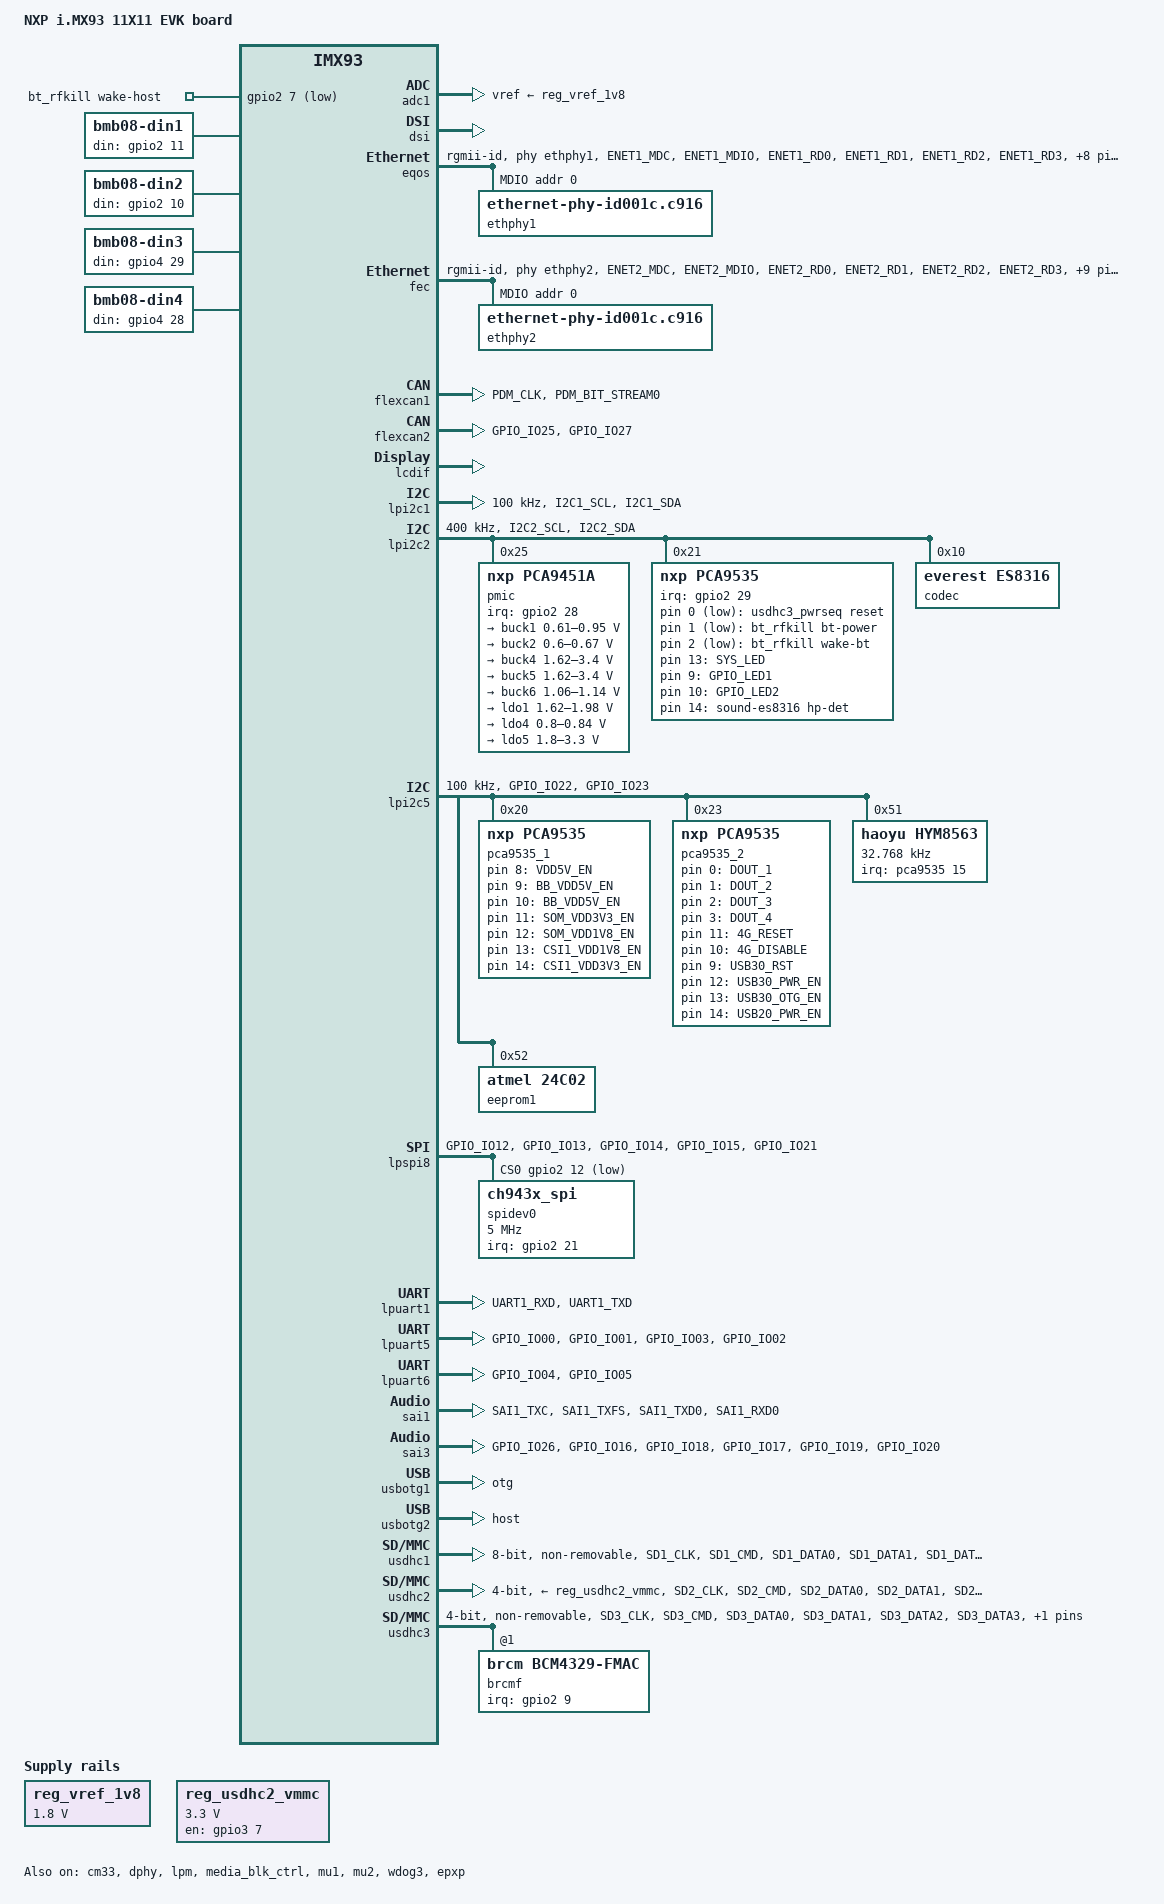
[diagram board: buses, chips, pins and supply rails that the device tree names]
// SPDX-License-Identifier: (GPL-2.0+ OR MIT)
/*
 * Copyright 2022 NXP
 */

/dts-v1/;

#include <dt-bindings/usb/pd.h>
#include "imx93.dtsi"

&ele_fw2 {
	memory-region = <&ele_reserved>;
};

/ {
	model = "NXP i.MX93 11X11 EVK board";
	compatible = "fsl,imx93-11x11-evk", "fsl,imx93";

	chosen {
		stdout-path = &lpuart1;
	};

	reserved-memory {
		#address-cells = <2>;
		#size-cells = <2>;
		ranges;

		linux,cma {
			compatible = "shared-dma-pool";
			reusable;
			alloc-ranges = <0 0x80000000 0 0x40000000>;
			size = <0 0x10000000>;
			linux,cma-default;
		};

		ethosu_mem: ethosu_region@C0000000 {
			compatible = "shared-dma-pool";
			reusable;
			reg = <0x0 0xC0000000 0x0 0x10000000>;
		};

		vdev0vring0: vdev0vring0@a4000000 {
			reg = <0 0xa4000000 0 0x8000>;
			no-map;
		};

		vdev0vring1: vdev0vring1@a4008000 {
			reg = <0 0xa4008000 0 0x8000>;
			no-map;
		};

		vdev1vring0: vdev1vring0@a4010000 {
			reg = <0 0xa4010000 0 0x8000>;
			no-map;
		};

		vdev1vring1: vdev1vring1@a4018000 {
			reg = <0 0xa4018000 0 0x8000>;
			no-map;
		};

		rsc_table: rsc-table@2021e000 {
			reg = <0 0x2021e000 0 0x1000>;
			no-map;
		};

		vdevbuffer: vdevbuffer@a4020000 {
			compatible = "shared-dma-pool";
			reg = <0 0xa4020000 0 0x100000>;
			no-map;
		};

		ele_reserved: ele-reserved@a4120000 {
			compatible = "shared-dma-pool";
			reg = <0 0xa4120000 0 0x100000>;
			no-map;
		};
	};

	ethosu {
		compatible = "arm,ethosu";
		fsl,cm33-proc = <&cm33>;
		memory-region = <&ethosu_mem>;
		power-domains = <&mlmix>;
	};
#if 0
	reg_can2_stby: regulator-can2-stby {
		compatible = "regulator-fixed";
		regulator-name = "can2-stby";
		regulator-min-microvolt = <3300000>;
		regulator-max-microvolt = <3300000>;
		gpio = <&adp5585 6 GPIO_ACTIVE_LOW>;
		enable-active-low;
	};

	reg_vdd_12v: regulator-vdd-12v {
		compatible = "regulator-fixed";
		regulator-name = "VDD_12V";
		regulator-min-microvolt = <12000000>;
		regulator-max-microvolt = <12000000>;
		gpio = <&pcal6524 14 GPIO_ACTIVE_HIGH>;
		enable-active-high;
	};
#endif
	reg_vref_1v8: regulator-adc-vref {
		compatible = "regulator-fixed";
		regulator-name = "vref_1v8";
		regulator-min-microvolt = <1800000>;
		regulator-max-microvolt = <1800000>;
	};

	reg_usdhc2_vmmc: regulator-usdhc2 {
		compatible = "regulator-fixed";
		pinctrl-names = "default";
		pinctrl-0 = <&pinctrl_reg_usdhc2_vmmc>;
		regulator-name = "VSD_3V3";
		regulator-min-microvolt = <3300000>;
		regulator-max-microvolt = <3300000>;
		gpio = <&gpio3 7 GPIO_ACTIVE_HIGH>;
		off-on-delay-us = <12000>;
		enable-active-high;
	};
#if 0
	backlight_lvds: backlight-lvds {
		compatible = "pwm-backlight";
		pwms = <&adp5585 0 100000 0>;
		brightness-levels = <0 100>;
		num-interpolated-steps = <100>;
		default-brightness-level = <100>;
		power-supply = <&reg_vdd_12v>;
		enable-gpios = <&adp5585 9 GPIO_ACTIVE_HIGH>;
		status = "disabled";
	};

	reg_m2_pwr: regulator-m2-pwr {
		compatible = "regulator-fixed";
		regulator-name = "M.2-power";
		regulator-min-microvolt = <3300000>;
		regulator-max-microvolt = <3300000>;
		gpio = <&pcal6524 13 GPIO_ACTIVE_HIGH>;
		enable-active-high;
	};

	reg_usdhc3_vmmc: regulator-usdhc3 {
		compatible = "regulator-fixed";
		regulator-name = "WLAN_EN";
		regulator-min-microvolt = <3300000>;
		regulator-max-microvolt = <3300000>;
		vin-supply = <&reg_m2_pwr>;
		gpio = <&pcal6524 20 GPIO_ACTIVE_HIGH>;
		/*
		 * IW612 wifi chip needs more delay than other wifi chips to complete
		 * the host interface initialization after power up, otherwise the
		 * internal state of IW612 may be unstable, resulting in the failure of
		 * the SDIO3.0 switch voltage.
		 */
		startup-delay-us = <20000>;
		enable-active-high;
	};
#endif
//Add wifi reg_on pin
	usdhc3_pwrseq: usdhc3_pwrseq {
		compatible = "mmc-pwrseq-simple";
		pinctrl-names = "default";
    	//	pinctrl-0 = <&pinctrl_wlan_reg_on>;
		//post-power-on-delay-ms = <500>;
		reset-gpios = <&pca9535 0 GPIO_ACTIVE_LOW>;
	};

//Add BT 
	bt_rfkill {
		compatible = "fsl,mxc_bt_rfkill";
		pinctrl-names = "default";
		pinctrl-0 = <&pinctrl_bt_ctrl>;
		bt-power-gpios = <&pca9535 1 GPIO_ACTIVE_LOW>;
		wake-bt-gpios =  <&pca9535 2 GPIO_ACTIVE_LOW>;
		wake-host-gpios = <&gpio2 7 GPIO_ACTIVE_LOW>;
		status ="okay";
	};
#if 0
	reg_audio_pwr: regulator-audio-pwr {
		compatible = "regulator-fixed";
		regulator-name = "audio-pwr";
		regulator-min-microvolt = <3300000>;
		regulator-max-microvolt = <3300000>;
		gpio = <&adp5585 1 GPIO_ACTIVE_HIGH>;
		enable-active-high;
		regulator-always-on;
	};

	reg_dvdd_1v2: regulator-dvdd {
		compatible = "regulator-fixed";
		regulator-name = "DVDD_1V2";
		gpio = <&adp5585_isp 7 GPIO_ACTIVE_HIGH>;
		regulator-min-microvolt = <1200000>;
		regulator-max-microvolt = <1200000>;
		enable-active-high;
	};


	reg_vddio_1v8: regulator-vddo {
		compatible = "regulator-fixed";
		regulator-name = "VDDIO_1V8";
		gpio = <&adp5585_isp 6 GPIO_ACTIVE_HIGH>;
		regulator-min-microvolt = <1800000>;
		regulator-max-microvolt = <1800000>;
		enable-active-high;
	};

	reg_avdd_2v8: regulator-avdd {
		compatible = "regulator-fixed";
		regulator-name = "AVDD_2V8";
		gpio = <&adp5585_isp 8 GPIO_ACTIVE_HIGH>;
		regulator-min-microvolt = <2800000>;
		regulator-max-microvolt = <2800000>;
		enable-active-high;
	};
#endif
#if 0
	reg_hmisc_vddio: regulator-hmisc-vddio {
		compatible = "regulator-fixed";
		regulator-name = "HMISC_VDDIO_1V8";
		gpio = <&adp5585_isp 10 GPIO_ACTIVE_HIGH>;
		regulator-min-microvolt = <1800000>;
		regulator-max-microvolt = <1800000>;
		enable-active-high;
	};
#endif
#if 0
	sound-micfil {
		compatible = "fsl,imx-audio-card";
		model = "micfil-audio";

		pri-dai-link {
			link-name = "micfil hifi";
			format = "i2s";

			cpu {
				sound-dai = <&micfil>;
			};
		};
	};

	sound-xcvr {
		compatible = "fsl,imx-audio-card";
		model = "imx-audio-xcvr";

		pri-dai-link {
			link-name = "XCVR PCM";

			cpu {
				sound-dai = <&xcvr>;
			};
		};
	};
#endif

//add DIN
	bmb08-din1 {
		compatible = "bmb08-din1";
		din-gpios = <&gpio2 11 GPIO_ACTIVE_HIGH>;
		pinctrl-names = "default";
		pinctrl-0 = <&pinctrl_din1>;
	};
	bmb08-din2 {
		compatible = "bmb08-din2";
		pinctrl-names = "default";
		pinctrl-0 = <&pinctrl_din2>;
		din-gpios = <&gpio2 10 GPIO_ACTIVE_HIGH>;
	};
	bmb08-din3 {
		compatible = "bmb08-din3";
		pinctrl-names = "default";
		pinctrl-0 = <&pinctrl_din3>;
		din-gpios = <&gpio4 29 GPIO_ACTIVE_HIGH>;
	};
	bmb08-din4 {
		compatible = "bmb08-din4";
		pinctrl-names = "default";
		pinctrl-0 = <&pinctrl_din4>;
		din-gpios = <&gpio4 28 GPIO_ACTIVE_HIGH>;
	};



//add led gpio
gpio-leds {
		compatible = "gpio-leds";

		#if 0
		pinctrl-names = "default";
		pinctrl-0 = <&pinctrl_gpio_led &pinctrl_bluetooth>;

		usb_rst {
				label = "USB_RST";
				gpios = <&gpio2 10 GPIO_ACTIVE_HIGH>;
				default-state = "on";
		};
		#endif
		sys_led {
                        label = "SYS_LED";
                        gpios = <&pca9535 13 GPIO_ACTIVE_HIGH>;
                        default-state = "on";
                };
		#if 0
		bt_power {
                        label = "bt_power";
                        gpios = <&gpio2 7 GPIO_ACTIVE_HIGH>;
                        default-state = "on";
                };

		bt_wake_host {
                        label = "bt_wake_host";
                        gpios = <&gpio2 8 GPIO_ACTIVE_HIGH>;
                        default-state = "on";
                };
		bt_wake_dev {
                        label = "bt_wake_dev";
                        gpios = <&gpio2 6 GPIO_ACTIVE_HIGH>;
                        default-state = "on";
                };
		#endif

		GPIO_LED1 {
			label = "GPIO_LED1";
			gpios = <&pca9535 9 GPIO_ACTIVE_HIGH>;
			default-state = "on";
		};
		GPIO_LED2 {
			label = "GPIO_LED2";
			gpios = <&pca9535 10 GPIO_ACTIVE_HIGH>;
			default-state = "on";
		};


		VDD5V_EN {
			label = "VDD5V_EN";
			gpios = <&pca9535_1 8 GPIO_ACTIVE_HIGH>;
			default-state = "on";
			retain-state-suspended;
		};

		BB_VDD5V_EN {
			label = "BB_VDD5V_EN";
			gpios = <&pca9535_1 9 GPIO_ACTIVE_HIGH>;
			default-state = "on";
			retain-state-suspended;
		};

		BB_VDD3V3_EN {
			label = "BB_VDD5V_EN";
			gpios = <&pca9535_1 10 GPIO_ACTIVE_HIGH>;
			default-state = "on";
			retain-state-suspended;
		};
		SOM_VDD3V3_EN {
			label = "SOM_VDD3V3_EN";
			gpios = <&pca9535_1 11 GPIO_ACTIVE_HIGH>;
			default-state = "on";
			retain-state-suspended;
		};

		SOM_VDD1V8_EN {
			label = "SOM_VDD1V8_EN";
			gpios = <&pca9535_1 12 GPIO_ACTIVE_HIGH>;
			default-state = "on";
			retain-state-suspended;
		};

		CSI1_VDD1V8_EN {
			label = "CSI1_VDD1V8_EN";
			gpios = <&pca9535_1 13 GPIO_ACTIVE_HIGH>;
			default-state = "on";
			retain-state-suspended;
		};
		CSI1_VDD3V3_EN {
			label = "CSI1_VDD3V3_EN";
			gpios = <&pca9535_1 14 GPIO_ACTIVE_HIGH>;
			default-state = "on";
			retain-state-suspended;
		};


		DOUT_1 {
			label = "DOUT_1";
			gpios = <&pca9535_2 0 GPIO_ACTIVE_HIGH>;
			default-state = "on";
			retain-state-suspended;
		};
		DOUT_2 {
			label = "DOUT_2";
			gpios = <&pca9535_2 1 GPIO_ACTIVE_HIGH>;
			default-state = "on";
			retain-state-suspended;
		};
		DOUT_3 {
			label = "DOUT_3";
			gpios = <&pca9535_2 2 GPIO_ACTIVE_HIGH>;
			default-state = "on";
			retain-state-suspended;
		};
		DOUT_4 {
			label = "DOUT_4";
			gpios = <&pca9535_2 3 GPIO_ACTIVE_HIGH>;
			default-state = "on";
			retain-state-suspended;
		};
		4G_RESET {
			label = "4G_RESET";
			gpios = <&pca9535_2 11 GPIO_ACTIVE_HIGH>;
			default-state = "off";
			retain-state-suspended;
		};
		4G_DISABLE {
			label = "4G_DISABLE";
			gpios = <&pca9535_2 10 GPIO_ACTIVE_HIGH>;
			default-state = "off";
			retain-state-suspended;
		};

		USB30_RST {
			label = "USB30_RST";
			gpios = <&pca9535_2 9 GPIO_ACTIVE_HIGH>;
			default-state = "on";
			retain-state-suspended;
		};
		USB30_PWR_EN {
			label = "USB30_PWR_EN";
			gpios = <&pca9535_2 12 GPIO_ACTIVE_HIGH>;
			default-state = "on";
			retain-state-suspended;
		};
		USB30_OTG_EN {
			label = "USB30_OTG_EN";
			gpios = <&pca9535_2 13 GPIO_ACTIVE_HIGH>;
			default-state = "on";
			retain-state-suspended;
		};
		USB20_PWR_EN {
			label = "USB20_PWR_EN";
			gpios = <&pca9535_2 14 GPIO_ACTIVE_HIGH>;
			default-state = "on";
			retain-state-suspended;
		};

};


//Add  es8316 sound
	sound-es8316 {
		compatible = "fsl,imx-audio-es8316";
		model = "es8316-audio";
		audio-cpu = <&sai3>;
		audio-codec = <&codec>;
		//audio-asrc = <&easrc>;
		format = "i2s";
		hp-det-gpios = <&pca9535 14 GPIO_ACTIVE_HIGH>;
		spk-vdd5v-en = <&pca9535_1 0 GPIO_ACTIVE_HIGH>;
		hp-spk-sel = <&pca9535_1 1 GPIO_ACTIVE_HIGH>;
		spk-mute = <&pca9535_1 2 GPIO_ACTIVE_HIGH>;
	//	mic-det-gpio = <&gpio4 29 GPIO_ACTIVE_HIGH>;
		//jack-gpio = <&gpio4 29 GPIO_ACTIVE_HIGH>;
		//audio-widgets = 
			//"Microphone", "Mic Jack",
			//"Headphone", "Headphone Jack";

		audio-routing =
			"Mic Jack", "MIC2",
			//"MIC2", "Mic Jack",
			//"MIC2", "DMIC",
			"Headphone Jack", "HPOL",
			"Headphone Jack", "HPOR";
	};


};

&adc1 {
	vref-supply = <&reg_vref_1v8>;
	status = "okay";
};

&cm33 {
	mbox-names = "tx", "rx", "rxdb";
	mboxes = <&mu1 0 1>,
		 <&mu1 1 1>,
		 <&mu1 3 1>;
	memory-region = <&vdevbuffer>, <&vdev0vring0>, <&vdev0vring1>,
			<&vdev1vring0>, <&vdev1vring1>, <&rsc_table>;
	fsl,startup-delay-ms = <500>;
	status = "okay";
};

&dphy {
	status = "okay";
};

&dsi {
	status = "okay";
#if 0
	ports {
		port@1 {
			reg = <1>;

			dsi_to_adv7535: endpoint {
				remote-endpoint = <&adv7535_to_dsi>;
			};
		};
	};
#endif
};

&eqos {
	pinctrl-names = "default";
	pinctrl-0 = <&pinctrl_eqos>;
	phy-mode = "rgmii-id";
	phy-handle = <&ethphy1>;
	// snps,reset-gpios = <&pca9535 12 GPIO_ACTIVE_LOW>;
	// snps,reset-delays-us = <10 20 200000>;
	//pinctrl-assert-gpios = <&pca9535 12 GPIO_ACTIVE_LOW>;
	status = "okay";

	mdio {
		compatible = "snps,dwmac-mdio";
		#address-cells = <1>;
		#size-cells = <0>;
		clock-frequency = <2500000>;
		reset-delay-us = <10>;
		reset-post-delay-us = <150>;
		reset-gpios = <&pca9535 12 GPIO_ACTIVE_LOW>;
		ethphy1: ethernet-phy@0 {
			compatible = "ethernet-phy-id001c.c916","ethernet-phy-ieee802.3-c22";//need to use RTL8211E Gigabit Ethernet driver
			//compatible = "ethernet-phy-ieee802.3-c22";
			reg = <0>;
			 //phy-id = <0>;
			//  0x001cc916
			eee-broken-1000t;
		};
	};
};



&fec {
	pinctrl-names = "default";
	pinctrl-0 = <&pinctrl_fec>;
	phy-mode = "rgmii-id";
	phy-handle = <&ethphy2>;
	fsl,magic-packet;
	phy-reset-gpios = <&pca9535 11 GPIO_ACTIVE_LOW>;
        phy-reset-duration = <10>;
        phy-reset-post-delay = <150>;
	status = "okay";

	mdio {
		#address-cells = <1>;
		#size-cells = <0>;
		clock-frequency = <5000000>;

		ethphy2: ethernet-phy@0 {
			compatible =  "ethernet-phy-id001c.c916","ethernet-phy-ieee802.3-c22";//need to use RTL8211E Gigabit Ethernet driver
			reg = <0>;
			eee-broken-1000t;
		};
	};
};
&flexcan1 {
	pinctrl-names = "default";
	pinctrl-0 = <&pinctrl_flexcan1>;
//	xceiver-supply = <&reg_can1_stby>;
	status = "okay";
};

&flexcan2 {
	pinctrl-names = "default";
	pinctrl-0 = <&pinctrl_flexcan2>;
	//xceiver-supply = <&reg_can2_stby>;
	status = "okay";
};


&lcdif {
	status = "okay";
	assigned-clock-rates = <445333333>, <148444444>, <400000000>, <133333333>;
};

&lpm {
	soc-supply = <&buck1>;
	status = "okay";
};

/*
 * When add, delete or change any target device setting in &lpi2c1,
 * please synchronize the changes to the &i3c1 bus in imx93-11x11-evk-i3c.dts.
 */
&lpi2c1 {
		#address-cells = <1>;
	#size-cells = <0>;
	clock-frequency = <100000>;
	pinctrl-names = "default";
	pinctrl-0 = <&pinctrl_lpi2c1>;
	status = "okay";
#if 0
	adv7535: hdmi@3d {
		compatible = "adi,adv7535";
		reg = <0x3d>;
		adi,addr-cec = <0x3b>;
		adi,dsi-lanes = <4>;
		status = "okay";

		port {
			adv7535_to_dsi: endpoint {
				//remote-endpoint = <&dsi_to_adv7535>;
			};
		};
	};

	inertial-meter@6a {
		compatible = "st,lsm6dso";
		reg = <0x6a>;
	};
#endif
};

&lpi2c2 {
	clock-frequency = <400000>;
	pinctrl-names = "default", "sleep";
	pinctrl-0 = <&pinctrl_lpi2c2>;
	pinctrl-1 = <&pinctrl_lpi2c2>;
	status = "okay";
#if 0
	pcal6524: gpio@22 {
		compatible = "nxp,pcal6524";
		reg = <0x22>;
		pinctrl-names = "default";
		pinctrl-0 = <&pinctrl_pcal6524>;
		gpio-controller;
		#gpio-cells = <2>;
		interrupt-controller;
		#interrupt-cells = <2>;
		interrupt-parent = <&gpio3>;
		interrupts = <27 IRQ_TYPE_LEVEL_LOW>;

		m2-pcm-level-shifter-hog {
			gpio-hog;
			gpios = <19 GPIO_ACTIVE_HIGH>;
			output-high;
		};
	};
#endif

	pmic@25 {
		compatible = "nxp,pca9451a";
		reg = <0x25>;
		pinctrl-0 = <&pinctrl_pmic>;
		interrupt-parent = <&gpio2>;
		interrupts = <28 IRQ_TYPE_EDGE_FALLING>;

		regulators {
			buck1: BUCK1 {
				regulator-name = "BUCK1";
				regulator-min-microvolt = <610000>;
				regulator-max-microvolt = <950000>;
				regulator-boot-on;
				regulator-always-on;
				regulator-ramp-delay = <3125>;
			};

			buck2: BUCK2 {
				regulator-name = "BUCK2";
				regulator-min-microvolt = <600000>;
				regulator-max-microvolt = <670000>;
				regulator-boot-on;
				regulator-always-on;
				regulator-ramp-delay = <3125>;
			};

			buck4: BUCK4{
				regulator-name = "BUCK4";
				regulator-min-microvolt = <1620000>;
				regulator-max-microvolt = <3400000>;
				regulator-boot-on;
				regulator-always-on;
			};

			buck5: BUCK5{
				regulator-name = "BUCK5";
				regulator-min-microvolt = <1620000>;
				regulator-max-microvolt = <3400000>;
				regulator-boot-on;
				regulator-always-on;
			};

			buck6: BUCK6 {
				regulator-name = "BUCK6";
				regulator-min-microvolt = <1060000>;
				regulator-max-microvolt = <1140000>;
				regulator-boot-on;
				regulator-always-on;
			};

			ldo1: LDO1 {
				regulator-name = "LDO1";
				regulator-min-microvolt = <1620000>;
				regulator-max-microvolt = <1980000>;
				regulator-boot-on;
				regulator-always-on;
			};

			ldo4: LDO4 {
				regulator-name = "LDO4";
				regulator-min-microvolt = <800000>;
				regulator-max-microvolt = <840000>;
				regulator-boot-on;
				regulator-always-on;
			};

			ldo5: LDO5 {
				regulator-name = "LDO5";
				regulator-min-microvolt = <1800000>;
				regulator-max-microvolt = <3300000>;
				regulator-boot-on;
				regulator-always-on;
			};
		};
	};
#if 0
	adp5585: io-expander@34 {
		compatible = "adi,adp5585-00", "adi,adp5585";
		reg = <0x34>;
		vdd-supply = <&buck4>;
		gpio-controller;
		#gpio-cells = <2>;
		gpio-reserved-ranges = <5 1>;
		#pwm-cells = <3>;
	};
#endif
	pca9535: gpio-expander@21{
	compatible = "nxp,pca9535";
	pinctrl-names = "default";
	pinctrl-0 = <&pinctrl_pca9535>;
	reg = <0x21>;
	gpio-controller;
	#gpio-cells = <2>;
	interrupt-controller;
	#interrupt-cells = <2>;
	interrupt-parent = <&gpio2>;
	interrupts = <29 IRQ_TYPE_LEVEL_LOW>;
};	

//Add codec es8316
	codec: es8316@10 {
		compatible = "everest,es8316";
		reg = <0x10>;
		clocks = <&clk IMX93_CLK_SAI3_GATE>;
		clock-names = "mclk";
	};


};

&lpi2c3 {
	clock-frequency = <400000>;
	pinctrl-names = "default";
	//pinctrl-0 = <&pinctrl_lpi2c3>;
	status = "diabled";
#if 0
	adp5585_isp: io-expander-isp@34 {
		compatible = "adi,adp5585-01", "adi,adp5585";
		reg = <0x34>;
		gpio-controller;
		#gpio-cells = <2>;
		#pwm-cells = <3>;
	};


	ap1302: ap1302_mipi@3c {
		compatible = "onnn,ap1302";
		reg = <0x3c>;
		clocks = <&clk IMX93_CLK_24M>;
		reset-gpios   = <&adp5585 0 GPIO_ACTIVE_LOW>;
		isp_en-gpios  = <&adp5585_isp 2 GPIO_ACTIVE_HIGH>;
		orientation = <2>;
		rotation = <0>;
		DVDD-supply   = <&reg_dvdd_1v2>;
		VDDIO_HMISC-supply  = <&reg_hmisc_vddio>;
		VDDIO_SMISC-supply   = <&reg_hmisc_vddio>;
		status = "okay";

		ports {
			#address-cells = <1>;
			#size-cells = <0>;

			port@0 {
				reg = <0>;
			};

			port@1 {
				reg = <1>;
			};

			port@2 {
				reg = <2>;

				isp_out: endpoint {
					remote-endpoint = <&mipi_csi_in>;
					data-lanes = <1 2>;
				};
			};
		};

		sensors {
			#address-cells = <1>;
			#size-cells = <0>;

			onnn,model = "onnn,ar0144";

			sensor@0 {
				reg = <0>;

				vdd-supply = <&reg_dvdd_1v2>;
				vddio-supply = <&reg_vddio_1v8>;
				vaa-supply = <&reg_avdd_2v8>;
			};
		};
	};
#endif

#if 0
	pcf2131: rtc@53 {
		compatible = "nxp,pcf2131";
		reg = <0x53>;
		interrupt-parent = <&pcal6524>;
		interrupts = <1 IRQ_TYPE_EDGE_FALLING>;
	};
#endif
};

&lpi2c5 {
	#address-cells = <1>;
	#size-cells = <0>;
	clock-frequency = <100000>;
	pinctrl-names = "default", "sleep";
	pinctrl-0 = <&pinctrl_lpi2c5>;
	pinctrl-1 = <&pinctrl_lpi2c5>;
	status = "okay";

#if 0 //not use
	pcf2131: rtc@53 {
			compatible = "nxp,pcf2131";
			reg = <0x53>;
			interrupt-parent = <&pcal6524>;
			interrupts = <1 IRQ_TYPE_EDGE_FALLING>;
			status = "okay";
	};
#endif

// 	hym8563: hym8563@51 {
// 		compatible = "haoyu,hym8563";
// 		reg = <0x51>;
// 		#clock-cells = <0>;
// 		clock-frequency = <32768>;
// 		clock-output-names = "xin32k";
// 		init_date="2025/03/27";
// 		interrupt-parent = <&pca9535>;
// 		interrupts = <15 IRQ_TYPE_EDGE_FALLING>;
// 		status = "okay";	
// //		pinctrl-names = "default";
// //		pinctrl-0 = <&pinctrl_rtc_int>;
// 	};

	pca9535_1: pca9535_1@20 {
	   compatible = "nxp,pca9535";
	   reg = <0x20>;
	   gpio-controller;
	   #gpio-cells = <0x02>;
	};
	pca9535_2: pca9535_2@23 {
	   compatible = "nxp,pca9535";
	   reg = <0x23>;
	   gpio-controller;
	   #gpio-cells = <0x02>;
	};


	hym8563: hym8563@51 {
		compatible = "haoyu,hym8563";
		reg = <0x51>;
		#clock-cells = <0>;
		clock-frequency = <32768>;
		clock-output-names = "xin32k";
		init_date="2025/03/27";
		interrupt-parent = <&pca9535>;
		interrupts = <15 IRQ_TYPE_EDGE_FALLING>;
		status = "okay";	
//		pinctrl-names = "default";
//		pinctrl-0 = <&pinctrl_rtc_int>;
	};
	eeprom1: eeprom@52 {
		compatible = "atmel,24c02";
		reg = <0x52>;
		pagesize = <16>;
	};

};

//Add SPI to 4xUART
&lpspi8{
        #address-cells = <1>;
        #size-cells = <0>;
        fsl,spi-num-chipselects = <1>;
        pinctrl-names = "default"; //, "sleep";
        pinctrl-0 = <&pinctrl_lpspi8>;
        //pinctrl-0 = <&pinctrl_lpspi8>;
        cs-gpios = <&gpio2 12 GPIO_ACTIVE_LOW>;
//      pinctrl-assert-gpios = <&adp5585gpio 4 GPIO_ACTIVE_HIGH>;
        status = "okay";
        spidev0: spi@0 {
                        #address-cells = <1>;
                        #size-cells = <1>;
                        compatible = "ch943x_spi";
                        //reg = <1 0>;
                        reg = <0>;
                        spi-max-frequency = <5000000>;
                        //spi-max-frequency = <1000000>;
                        interrupt-parent = <&gpio2>;
                        interrupts = <21 2>;
                                status = "okay";
        };
};

&lpuart1 { /* console */
	pinctrl-names = "default";
	pinctrl-0 = <&pinctrl_uart1>;
	status = "okay";
};

//Add J36
// &lpuart2 {
// 	pinctrl-names = "default";
// 	pinctrl-0 = <&pinctrl_uart2>;
// 	status = "okay";
// };

//BT
&lpuart5 {
	/* BT */
	pinctrl-names = "default";
	//pinctrl-assert-gpios = <&pcal6524 19 GPIO_ACTIVE_HIGH>;
	assigned-clocks = <&clk IMX93_CLK_LPUART5>;
	//assigned-clock-parents = <&clk IMX93_SYS_PLL1_80M>;
	pinctrl-0 = <&pinctrl_uart5>;
	fsl,uart-has-rtscts;
	status = "okay";

	// bluetooth {
	// 	compatible = "nxp,88w8987-bt";
	// };
};

//Add J35
//J35
&lpuart6 {
	pinctrl-names = "default";
	pinctrl-0 = <&pinctrl_uart6>;
	/delete-property/dmas;
	/delete-property/dma-names;
	status = "okay";

};

&media_blk_ctrl {
	status = "okay";
};

&micfil {
	pinctrl-names = "default", "sleep";
	pinctrl-0 = <&pinctrl_pdm>;
	pinctrl-1 = <&pinctrl_pdm_sleep>;
	assigned-clocks = <&clk IMX93_CLK_PDM>;
	assigned-clock-parents = <&clk IMX93_CLK_AUDIO_PLL>;
	assigned-clock-rates = <49152000>;
	status = "disabled";
};

&mu1 {
	status = "okay";
};

&mu2 {
	status = "okay";
};

&sai1 {
	pinctrl-names = "default", "sleep";
	pinctrl-0 = <&pinctrl_sai1>;
	pinctrl-1 = <&pinctrl_sai1_sleep>;
	assigned-clocks = <&clk IMX93_CLK_SAI1>;
	assigned-clock-parents = <&clk IMX93_CLK_AUDIO_PLL>;
	assigned-clock-rates = <12288000>;
	fsl,sai-mclk-direction-output;
	status = "okay";
};

&sai3 {
	pinctrl-names = "default";
	pinctrl-0 = <&pinctrl_sai3>;
	assigned-clocks = <&clk IMX93_CLK_SAI3>;
	assigned-clock-parents = <&clk IMX93_CLK_AUDIO_PLL>;
	assigned-clock-rates = <12288000>;
	fsl,sai-mclk-direction-output;
	status = "okay";
};

&usbotg1 {
#if 0
	dr_mode = "host";
#else
	dr_mode = "otg";
	hnp-disable;
	srp-disable;
	adp-disable;
	//usb-role-switch;
	disable-over-current;
	samsung,picophy-pre-emp-curr-control = <3>;
	samsung,picophy-dc-vol-level-adjust = <7>;

#endif
	status = "okay";
/*
	port {
		usb1_drd_sw: endpoint {
			remote-endpoint = <&typec1_dr_sw>;
		};
	};
*/
};

&usbotg2 {
#if 1 
	dr_mode = "host";
#else
	dr_mode = "otg";
	hnp-disable;
	srp-disable;
	adp-disable;
	usb-role-switch;
	disable-over-current;
	samsung,picophy-pre-emp-curr-control = <3>;
	samsung,picophy-dc-vol-level-adjust = <7>;
#endif
	status = "okay";
/*
	port {
		usb2_drd_sw: endpoint {
			remote-endpoint = <&typec2_dr_sw>;
		};
	};
*/
};

&usdhc1 {
	pinctrl-names = "default", "state_100mhz", "state_200mhz";
	pinctrl-0 = <&pinctrl_usdhc1>;
	pinctrl-1 = <&pinctrl_usdhc1_100mhz>;
	pinctrl-2 = <&pinctrl_usdhc1_200mhz>;
	bus-width = <8>;
	fsl,tuning-step = <1>;
	non-removable;
	status = "okay";
};

&usdhc2 {
	pinctrl-names = "default", "state_100mhz", "state_200mhz", "sleep";
	pinctrl-0 = <&pinctrl_usdhc2>, <&pinctrl_usdhc2_gpio>;
	pinctrl-1 = <&pinctrl_usdhc2_100mhz>, <&pinctrl_usdhc2_gpio>;
	pinctrl-2 = <&pinctrl_usdhc2_200mhz>, <&pinctrl_usdhc2_gpio>;
	pinctrl-3 = <&pinctrl_usdhc2_sleep>, <&pinctrl_usdhc2_gpio_sleep>;
	cd-gpios = <&gpio3 00 GPIO_ACTIVE_LOW>;
	fsl,cd-gpio-wakeup-disable;
	vmmc-supply = <&reg_usdhc2_vmmc>;
	bus-width = <4>;
	fsl,tuning-step = <1>;
	status = "okay";
	no-mmc;
};

// &usdhc3 {
// 	pinctrl-names = "default", "state_100mhz", "state_200mhz", "sleep";
// 	pinctrl-0 = <&pinctrl_usdhc3>, <&pinctrl_usdhc3_wlan>;
// 	pinctrl-1 = <&pinctrl_usdhc3_100mhz>, <&pinctrl_usdhc3_wlan>;
// 	pinctrl-2 = <&pinctrl_usdhc3_200mhz>, <&pinctrl_usdhc3_wlan>;
// 	pinctrl-3 = <&pinctrl_usdhc3_sleep>, <&pinctrl_usdhc3_wlan>;
// 	mmc-pwrseq = <&usdhc3_pwrseq>;
// 	vmmc-supply = <&reg_usdhc3_vmmc>;
// 	bus-width = <4>;
// 	keep-power-in-suspend;
// 	non-removable;
// 	wakeup-source;
// 	status = "okay";

// 	wifi_wake_host {
// 		compatible = "nxp,wifi-wake-host";
// 		interrupt-parent = <&gpio3>;
// 		interrupts = <26 IRQ_TYPE_LEVEL_LOW>;
// 		interrupt-names = "host-wake";
// 	};
// };

#if 1 //WIFI
&usdhc3 {
	pinctrl-names = "default", "state_100mhz", "state_200mhz";
	pinctrl-0 = <&pinctrl_usdhc3>, <&pinctrl_usdhc3_wlan>;
	pinctrl-1 = <&pinctrl_usdhc3_100mhz>, <&pinctrl_usdhc3_wlan>;//need to use 100mhz or 200mhz,when meet error -110 whilst initialising SDIO card
	pinctrl-2 = <&pinctrl_usdhc3_200mhz>, <&pinctrl_usdhc3_wlan>;
	mmc-pwrseq = <&usdhc3_pwrseq>;
	//pinctrl-assert-gpios = <&pcal6524 13 GPIO_ACTIVE_HIGH>;
	bus-width = <4>;
	pm-ignore-notify;
	keep-power-in-suspend;
	non-removable;
	//cap-power-off-card;
	/delete-property/ vmmc-supply;
	status = "okay";
	    wakeup-source;
    wifi-host;
	//clock-frequency = <50000000>;
	//clock-frequency = <50000000>;

#if 0
	wifi_wake_host {
		compatible = "nxp,wifi-wake-host";
		interrupt-parent = <&gpio2>;
		interrupts = <4 IRQ_TYPE_LEVEL_LOW>;
		interrupt-names = "host-wake";
	};
#else
	brcmf: brcmf@1 {
		ret = <1>;
		compatible = "brcm,bcm4329-fmac";
		interrupt-parent = <&gpio2>;
		interrupts = <9 IRQ_TYPE_LEVEL_HIGH>;
		interrupt-names = "host-wake";
	};
#endif
};
#endif

&wdog3 {
	status = "okay";
};

&xcvr {
	pinctrl-names = "default", "sleep";
	pinctrl-0 = <&pinctrl_spdif>;
	pinctrl-1 = <&pinctrl_spdif_sleep>;
	assigned-clocks = <&clk IMX93_CLK_SPDIF>,
			 <&clk IMX93_CLK_AUDIO_XCVR>;
	assigned-clock-parents = <&clk IMX93_CLK_AUDIO_PLL>,
			 <&clk IMX93_CLK_SYS_PLL_PFD1_DIV2>;
	assigned-clock-rates = <12288000>, <200000000>;
	status = "disabled";
};

&iomuxc {

//Add spi8
	pinctrl_lpspi8: lpspi8grp {
		fsl,pins = <
			MX93_PAD_GPIO_IO12__GPIO2_IO12          0x31e
			MX93_PAD_GPIO_IO13__LPSPI8_SIN          0x31e
			MX93_PAD_GPIO_IO14__LPSPI8_SOUT         0x31e
			MX93_PAD_GPIO_IO15__LPSPI8_SCK          0x31e

			MX93_PAD_GPIO_IO21__GPIO2_IO21      0x31e

		>;
	};


//Add 4-DIN PIN
	pinctrl_din1: din1_grp{
	fsl,pins = <
		MX93_PAD_GPIO_IO11__GPIO2_IO11		0x31e
		>;
	};

	pinctrl_din2: din2_grp{
		fsl,pins = <
			MX93_PAD_GPIO_IO10__GPIO2_IO10		0x31e
		>;
	};
	pinctrl_din3: din3_grp{
		fsl,pins = <
			MX93_PAD_CCM_CLKO4__GPIO4_IO29		0x31e
		>;
	};
	pinctrl_din4: din4_grp{
		fsl,pins = <
			MX93_PAD_CCM_CLKO3__GPIO4_IO28	0x31e
		>;
	};


//Add J36 UART
	// pinctrl_uart2: uart2grp {
	// 	fsl,pins = <
	// 		MX93_PAD_UART2_RXD__LPUART2_RX             0x31e
	// 		MX93_PAD_UART2_TXD__LPUART2_TX             0x31e
	// 	>;
	// };


//Add J35 UART
	pinctrl_uart6: uart6grp {
		fsl,pins = <
			MX93_PAD_GPIO_IO04__LPUART6_TX		0x31e
			MX93_PAD_GPIO_IO05__LPUART6_RX		0x31e
		>;
	};


//Add CAN 1-2
	pinctrl_flexcan2: flexcan2grp {
		fsl,pins = <
			MX93_PAD_GPIO_IO25__CAN2_TX	0x139e
			MX93_PAD_GPIO_IO27__CAN2_RX	0x139e
		>;
	};


	pinctrl_flexcan1: flexcan1grp {
		fsl,pins = <
			MX93_PAD_PDM_CLK__CAN1_TX	0x139e
			MX93_PAD_PDM_BIT_STREAM0__CAN1_RX	0x139e
		>;
	};	

//Add pmic irq
	pinctrl_pmic: pmicgrp {
		fsl,pins = <
			MX93_PAD_GPIO_IO28__GPIO2_IO28 0x40000b9e
		>;
	};

//Add i2c5
	pinctrl_lpi2c5: lpi2c5grp {
		fsl,pins = <
			MX93_PAD_GPIO_IO22__LPI2C5_SDA			0x40000b9e
			MX93_PAD_GPIO_IO23__LPI2C5_SCL			0x40000b9e
		>;
	};


//Add PCA9535 irq
	pinctrl_pca9535: pca9535grp{
		fsl,pins = <
			MX93_PAD_GPIO_IO29__GPIO2_IO29 0x31e
		>;
	};



	pinctrl_eqos: eqosgrp {
		fsl,pins = <
			MX93_PAD_ENET1_MDC__ENET_QOS_MDC			0x57e
			MX93_PAD_ENET1_MDIO__ENET_QOS_MDIO			0x57e
			MX93_PAD_ENET1_RD0__ENET_QOS_RGMII_RD0			0x57e
			MX93_PAD_ENET1_RD1__ENET_QOS_RGMII_RD1			0x57e
			MX93_PAD_ENET1_RD2__ENET_QOS_RGMII_RD2			0x57e
			MX93_PAD_ENET1_RD3__ENET_QOS_RGMII_RD3			0x57e
			MX93_PAD_ENET1_RXC__CCM_ENET_QOS_CLOCK_GENERATE_RX_CLK	0x58e
			MX93_PAD_ENET1_RX_CTL__ENET_QOS_RGMII_RX_CTL		0x57e
			MX93_PAD_ENET1_TD0__ENET_QOS_RGMII_TD0			0x57e
			MX93_PAD_ENET1_TD1__ENET_QOS_RGMII_TD1			0x57e
			MX93_PAD_ENET1_TD2__ENET_QOS_RGMII_TD2			0x57e
			MX93_PAD_ENET1_TD3__ENET_QOS_RGMII_TD3			0x57e
			MX93_PAD_ENET1_TXC__CCM_ENET_QOS_CLOCK_GENERATE_TX_CLK	0x58e
			MX93_PAD_ENET1_TX_CTL__ENET_QOS_RGMII_TX_CTL		0x57e
		>;
	};

	pinctrl_eqos_sleep: eqossleepgrp {
		fsl,pins = <
			MX93_PAD_ENET1_MDC__GPIO4_IO00				0x31e
			MX93_PAD_ENET1_MDIO__GPIO4_IO01				0x31e
			MX93_PAD_ENET1_RD0__GPIO4_IO10                          0x31e
			MX93_PAD_ENET1_RD1__GPIO4_IO11				0x31e
			MX93_PAD_ENET1_RD2__GPIO4_IO12				0x31e
			MX93_PAD_ENET1_RD3__GPIO4_IO13				0x31e
			MX93_PAD_ENET1_RXC__GPIO4_IO09                          0x31e
			MX93_PAD_ENET1_RX_CTL__GPIO4_IO08			0x31e
			MX93_PAD_ENET1_TD0__GPIO4_IO05                          0x31e
			MX93_PAD_ENET1_TD1__GPIO4_IO04                          0x31e
			MX93_PAD_ENET1_TD2__GPIO4_IO03				0x31e
			MX93_PAD_ENET1_TD3__GPIO4_IO02				0x31e
			MX93_PAD_ENET1_TXC__GPIO4_IO07                          0x31e
			MX93_PAD_ENET1_TX_CTL__GPIO4_IO06                       0x31e
		>;
	};

	pinctrl_fec: fecgrp {
		fsl,pins = <
			MX93_PAD_ENET2_MDC__ENET1_MDC			0x57e
			MX93_PAD_ENET2_MDIO__ENET1_MDIO			0x57e
			MX93_PAD_ENET2_RD0__ENET1_RGMII_RD0		0x57e
			MX93_PAD_ENET2_RD1__ENET1_RGMII_RD1		0x57e
			MX93_PAD_ENET2_RD2__ENET1_RGMII_RD2		0x57e
			MX93_PAD_ENET2_RD3__ENET1_RGMII_RD3		0x57e
			MX93_PAD_ENET2_RXC__ENET1_RGMII_RXC		0x58e
			MX93_PAD_ENET2_RX_CTL__ENET1_RGMII_RX_CTL	0x57e
			MX93_PAD_ENET2_TD0__ENET1_RGMII_TD0		0x57e
			MX93_PAD_ENET2_TD1__ENET1_RGMII_TD1		0x57e
			MX93_PAD_ENET2_TD2__ENET1_RGMII_TD2		0x57e
			MX93_PAD_ENET2_TD3__ENET1_RGMII_TD3		0x57e
			MX93_PAD_ENET2_TXC__ENET1_RGMII_TXC		0x58e
			MX93_PAD_ENET2_TX_CTL__ENET1_RGMII_TX_CTL	0x57e
		>;
	};

	pinctrl_fec_sleep: fecsleepgrp {
		fsl,pins = <
			MX93_PAD_ENET2_MDC__GPIO4_IO14			0x51e
			MX93_PAD_ENET2_MDIO__GPIO4_IO15			0x51e
			MX93_PAD_ENET2_RD0__GPIO4_IO24			0x51e
			MX93_PAD_ENET2_RD1__GPIO4_IO25			0x51e
			MX93_PAD_ENET2_RD2__GPIO4_IO26			0x51e
			MX93_PAD_ENET2_RD3__GPIO4_IO27			0x51e
			MX93_PAD_ENET2_RXC__GPIO4_IO23                  0x51e
			MX93_PAD_ENET2_RX_CTL__GPIO4_IO22		0x51e
			MX93_PAD_ENET2_TD0__GPIO4_IO19			0x51e
			MX93_PAD_ENET2_TD1__GPIO4_IO18			0x51e
			MX93_PAD_ENET2_TD2__GPIO4_IO17			0x51e
			MX93_PAD_ENET2_TD3__GPIO4_IO16			0x51e
			MX93_PAD_ENET2_TXC__GPIO4_IO21                  0x51e
			MX93_PAD_ENET2_TX_CTL__GPIO4_IO20               0x51e
		>;
	};


	pinctrl_uart1: uart1grp {
		fsl,pins = <
			MX93_PAD_UART1_RXD__LPUART1_RX			0x31e
			MX93_PAD_UART1_TXD__LPUART1_TX			0x31e
		>;
	};

//Add for BT
	pinctrl_uart5: uart5grp {
		fsl,pins = <
			MX93_PAD_GPIO_IO00__LPUART5_TX		0x31e
			MX93_PAD_GPIO_IO01__LPUART5_RX		0x31e
			MX93_PAD_GPIO_IO03__LPUART5_RTS_B	0x31e
			MX93_PAD_GPIO_IO02__LPUART5_CTS_B	0x31e
		>;
	};

	pinctrl_lpi2c1: lpi2c1grp {
		fsl,pins = <
			MX93_PAD_I2C1_SCL__LPI2C1_SCL			0x40000b9e
			MX93_PAD_I2C1_SDA__LPI2C1_SDA			0x40000b9e
		>;
	};

	pinctrl_lpi2c2: lpi2c2grp {
		fsl,pins = <
			MX93_PAD_I2C2_SCL__LPI2C2_SCL			0x40000b9e
			MX93_PAD_I2C2_SDA__LPI2C2_SDA			0x40000b9e
		>;
	};

	// pinctrl_lpi2c3: lpi2c3grp {
	// 	fsl,pins = <
	// 		MX93_PAD_GPIO_IO28__LPI2C3_SDA			0x40000b9e
	// 		MX93_PAD_GPIO_IO29__LPI2C3_SCL			0x40000b9e
	// 	>;
	// };
#if 0
	pinctrl_pcal6524: pcal6524grp {
		fsl,pins = <
			MX93_PAD_CCM_CLKO2__GPIO3_IO27			0x31e
		>;
	};
#endif
	pinctrl_pdm: pdmgrp {
		fsl,pins = <
			MX93_PAD_PDM_CLK__PDM_CLK			0x31e
			MX93_PAD_PDM_BIT_STREAM0__PDM_BIT_STREAM00	0x31e
			MX93_PAD_PDM_BIT_STREAM1__PDM_BIT_STREAM01	0x31e
		>;
	};

	pinctrl_pdm_sleep: pdmsleepgrp {
		fsl,pins = <
			MX93_PAD_PDM_CLK__GPIO1_IO08			0x31e
			MX93_PAD_PDM_BIT_STREAM0__GPIO1_IO09		0x31e
			MX93_PAD_PDM_BIT_STREAM1__GPIO1_IO10		0x31e
		>;
	};

	pinctrl_sai1: sai1grp {
		fsl,pins = <
			MX93_PAD_SAI1_TXC__SAI1_TX_BCLK			0x31e
			MX93_PAD_SAI1_TXFS__SAI1_TX_SYNC		0x31e
			MX93_PAD_SAI1_TXD0__SAI1_TX_DATA00		0x31e
			MX93_PAD_SAI1_RXD0__SAI1_RX_DATA00		0x31e
		>;
	};

	pinctrl_sai1_sleep: sai1sleepgrp {
		fsl,pins = <
			MX93_PAD_SAI1_TXC__GPIO1_IO12                   0x51e
			MX93_PAD_SAI1_TXFS__GPIO1_IO11			0x51e
			MX93_PAD_SAI1_TXD0__GPIO1_IO13			0x51e
			MX93_PAD_SAI1_RXD0__GPIO1_IO14			0x51e
		>;
	};

	/* need to config the SION for data and cmd pad, refer to ERR052021 */
	pinctrl_usdhc1: usdhc1grp {
		fsl,pins = <
			MX93_PAD_SD1_CLK__USDHC1_CLK		0x1582
			MX93_PAD_SD1_CMD__USDHC1_CMD		0x40001382
			MX93_PAD_SD1_DATA0__USDHC1_DATA0	0x40001382
			MX93_PAD_SD1_DATA1__USDHC1_DATA1	0x40001382
			MX93_PAD_SD1_DATA2__USDHC1_DATA2	0x40001382
			MX93_PAD_SD1_DATA3__USDHC1_DATA3	0x40001382
			MX93_PAD_SD1_DATA4__USDHC1_DATA4	0x40001382
			MX93_PAD_SD1_DATA5__USDHC1_DATA5	0x40001382
			MX93_PAD_SD1_DATA6__USDHC1_DATA6	0x40001382
			MX93_PAD_SD1_DATA7__USDHC1_DATA7	0x40001382
			MX93_PAD_SD1_STROBE__USDHC1_STROBE	0x1582
		>;
	};

	/* need to config the SION for data and cmd pad, refer to ERR052021 */
	pinctrl_usdhc1_100mhz: usdhc1-100mhzgrp {
		fsl,pins = <
			MX93_PAD_SD1_CLK__USDHC1_CLK		0x158e
			MX93_PAD_SD1_CMD__USDHC1_CMD		0x4000138e
			MX93_PAD_SD1_DATA0__USDHC1_DATA0	0x4000138e
			MX93_PAD_SD1_DATA1__USDHC1_DATA1	0x4000138e
			MX93_PAD_SD1_DATA2__USDHC1_DATA2	0x4000138e
			MX93_PAD_SD1_DATA3__USDHC1_DATA3	0x4000138e
			MX93_PAD_SD1_DATA4__USDHC1_DATA4	0x4000138e
			MX93_PAD_SD1_DATA5__USDHC1_DATA5	0x4000138e
			MX93_PAD_SD1_DATA6__USDHC1_DATA6	0x4000138e
			MX93_PAD_SD1_DATA7__USDHC1_DATA7	0x4000138e
			MX93_PAD_SD1_STROBE__USDHC1_STROBE	0x158e
		>;
	};

	/* need to config the SION for data and cmd pad, refer to ERR052021 */
	pinctrl_usdhc1_200mhz: usdhc1-200mhzgrp {
		fsl,pins = <
			MX93_PAD_SD1_CLK__USDHC1_CLK		0x15fe
			MX93_PAD_SD1_CMD__USDHC1_CMD		0x400013fe
			MX93_PAD_SD1_DATA0__USDHC1_DATA0	0x400013fe
			MX93_PAD_SD1_DATA1__USDHC1_DATA1	0x400013fe
			MX93_PAD_SD1_DATA2__USDHC1_DATA2	0x400013fe
			MX93_PAD_SD1_DATA3__USDHC1_DATA3	0x400013fe
			MX93_PAD_SD1_DATA4__USDHC1_DATA4	0x400013fe
			MX93_PAD_SD1_DATA5__USDHC1_DATA5	0x400013fe
			MX93_PAD_SD1_DATA6__USDHC1_DATA6	0x400013fe
			MX93_PAD_SD1_DATA7__USDHC1_DATA7	0x400013fe
			MX93_PAD_SD1_STROBE__USDHC1_STROBE	0x15fe
		>;
	};

	pinctrl_reg_usdhc2_vmmc: regusdhc2vmmcgrp {
		fsl,pins = <
			MX93_PAD_SD2_RESET_B__GPIO3_IO07	0x31e
		>;
	};

	pinctrl_spdif: spdifgrp {
		fsl,pins = <
			//MX93_PAD_GPIO_IO22__SPDIF_IN		0x3fe
			MX93_PAD_GPIO_IO23__SPDIF_OUT		0x3fe
		>;
	};

	pinctrl_spdif_sleep: spdifsleepgrp {
		fsl,pins = <
			//MX93_PAD_GPIO_IO22__GPIO2_IO22		0x31e
			MX93_PAD_GPIO_IO23__GPIO2_IO23		0x31e
		>;
	};

	pinctrl_usdhc2_gpio: usdhc2gpiogrp {
		fsl,pins = <
			MX93_PAD_SD2_CD_B__GPIO3_IO00		0x31e
		>;
	};

	pinctrl_usdhc2_gpio_sleep: usdhc2gpiosleepgrp {
		fsl,pins = <
			MX93_PAD_SD2_CD_B__GPIO3_IO00		0x51e
		>;
	};

	/* need to config the SION for data and cmd pad, refer to ERR052021 */
	pinctrl_usdhc2: usdhc2grp {
		fsl,pins = <
			MX93_PAD_SD2_CLK__USDHC2_CLK		0x1582
			MX93_PAD_SD2_CMD__USDHC2_CMD		0x40001382
			MX93_PAD_SD2_DATA0__USDHC2_DATA0	0x40001382
			MX93_PAD_SD2_DATA1__USDHC2_DATA1	0x40001382
			MX93_PAD_SD2_DATA2__USDHC2_DATA2	0x40001382
			MX93_PAD_SD2_DATA3__USDHC2_DATA3	0x40001382
			MX93_PAD_SD2_VSELECT__USDHC2_VSELECT	0x51e
		>;
	};

	/* need to config the SION for data and cmd pad, refer to ERR052021 */
	pinctrl_usdhc2_100mhz: usdhc2-100mhzgrp {
		fsl,pins = <
			MX93_PAD_SD2_CLK__USDHC2_CLK		0x158e
			MX93_PAD_SD2_CMD__USDHC2_CMD		0x4000138e
			MX93_PAD_SD2_DATA0__USDHC2_DATA0	0x4000138e
			MX93_PAD_SD2_DATA1__USDHC2_DATA1	0x4000138e
			MX93_PAD_SD2_DATA2__USDHC2_DATA2	0x4000138e
			MX93_PAD_SD2_DATA3__USDHC2_DATA3	0x4000138e
			MX93_PAD_SD2_VSELECT__USDHC2_VSELECT	0x51e
		>;
	};

	/* need to config the SION for data and cmd pad, refer to ERR052021 */
	pinctrl_usdhc2_200mhz: usdhc2-200mhzgrp {
		fsl,pins = <
			MX93_PAD_SD2_CLK__USDHC2_CLK		0x15fe
			MX93_PAD_SD2_CMD__USDHC2_CMD		0x400013fe
			MX93_PAD_SD2_DATA0__USDHC2_DATA0	0x400013fe
			MX93_PAD_SD2_DATA1__USDHC2_DATA1	0x400013fe
			MX93_PAD_SD2_DATA2__USDHC2_DATA2	0x400013fe
			MX93_PAD_SD2_DATA3__USDHC2_DATA3	0x400013fe
			MX93_PAD_SD2_VSELECT__USDHC2_VSELECT	0x51e
		>;
	};

	pinctrl_usdhc2_sleep: usdhc2sleepgrp {
		fsl,pins = <
			MX93_PAD_SD2_CLK__GPIO3_IO01            0x51e
			MX93_PAD_SD2_CMD__GPIO3_IO02		0x51e
			MX93_PAD_SD2_DATA0__GPIO3_IO03		0x51e
			MX93_PAD_SD2_DATA1__GPIO3_IO04		0x51e
			MX93_PAD_SD2_DATA2__GPIO3_IO05		0x51e
			MX93_PAD_SD2_DATA3__GPIO3_IO06		0x51e
			MX93_PAD_SD2_VSELECT__GPIO3_IO19	0x51e
		>;
	};

	/* need to config the SION for data and cmd pad, refer to ERR052021 */
	pinctrl_usdhc3: usdhc3grp {
		fsl,pins = <
			MX93_PAD_SD3_CLK__USDHC3_CLK		0x1582
			MX93_PAD_SD3_CMD__USDHC3_CMD		0x40001382
			MX93_PAD_SD3_DATA0__USDHC3_DATA0	0x40001382
			MX93_PAD_SD3_DATA1__USDHC3_DATA1	0x40001382
			MX93_PAD_SD3_DATA2__USDHC3_DATA2	0x40001382
			MX93_PAD_SD3_DATA3__USDHC3_DATA3	0x40001382
		>;
	};

	/* need to config the SION for data and cmd pad, refer to ERR052021 */
	pinctrl_usdhc3_100mhz: usdhc3-100mhzgrp {
		fsl,pins = <
			MX93_PAD_SD3_CLK__USDHC3_CLK		0x158e
			MX93_PAD_SD3_CMD__USDHC3_CMD		0x4000138e
			MX93_PAD_SD3_DATA0__USDHC3_DATA0	0x4000138e
			MX93_PAD_SD3_DATA1__USDHC3_DATA1	0x4000138e
			MX93_PAD_SD3_DATA2__USDHC3_DATA2	0x4000138e
			MX93_PAD_SD3_DATA3__USDHC3_DATA3	0x4000138e
		>;
	};

	/* need to config the SION for data and cmd pad, refer to ERR052021 */
	pinctrl_usdhc3_200mhz: usdhc3-200mhzgrp {
		fsl,pins = <
			MX93_PAD_SD3_CLK__USDHC3_CLK		0x15fe
			MX93_PAD_SD3_CMD__USDHC3_CMD		0x400013fe
			MX93_PAD_SD3_DATA0__USDHC3_DATA0	0x400013fe
			MX93_PAD_SD3_DATA1__USDHC3_DATA1	0x400013fe
			MX93_PAD_SD3_DATA2__USDHC3_DATA2	0x400013fe
			MX93_PAD_SD3_DATA3__USDHC3_DATA3	0x400013fe
		>;
	};

	pinctrl_usdhc3_sleep: usdhc3grpsleep {
		fsl,pins = <
			MX93_PAD_SD3_CLK__GPIO3_IO20		0x31e
			MX93_PAD_SD3_CMD__GPIO3_IO21		0x31e
			MX93_PAD_SD3_DATA0__GPIO3_IO22		0x31e
			MX93_PAD_SD3_DATA1__GPIO3_IO23		0x31e
			MX93_PAD_SD3_DATA2__GPIO3_IO24		0x31e
			MX93_PAD_SD3_DATA3__GPIO3_IO25		0x31e
		>;
	};
//Add wifi-wake-host pin
	pinctrl_usdhc3_wlan: usdhc3wlangrp {
		fsl,pins = <
			MX93_PAD_GPIO_IO09__GPIO2_IO09 0x31e
		>;
	}; 
//Add BT ctrl pin
	pinctrl_bt_ctrl: bt_ctrl {
		fsl,pins = <
			MX93_PAD_GPIO_IO07__GPIO2_IO07        0x31e
		>;
	};

	pinctrl_sai3: sai3grp {
		fsl,pins = <
			MX93_PAD_GPIO_IO26__SAI3_TX_SYNC		0x31e
			MX93_PAD_GPIO_IO16__SAI3_TX_BCLK		0x31e
			MX93_PAD_GPIO_IO18__SAI3_RX_BCLK		0x31e
			MX93_PAD_GPIO_IO17__SAI3_MCLK			0x31e
			MX93_PAD_GPIO_IO19__SAI3_TX_DATA00		0x31e
			MX93_PAD_GPIO_IO20__SAI3_RX_DATA00		0x31e
		>;
	};
};

&epxp {
	status = "okay";
};

#if 0
&isi {
	status = "okay";

	port {
		isi_in: endpoint {
			remote-endpoint = <&mipi_csi_out>;
		};
	};
};

&mipi_csi {
	status = "okay";

	ports {
		#address-cells = <1>;
		#size-cells = <0>;

		port@0 {
			reg = <0>;

			mipi_csi_in: endpoint {
				remote-endpoint = <&isp_out>;
				data-lanes = <1 2>;
				clock-lanes = <0>;
			};
		};

		port@1 {
			reg = <1>;

			mipi_csi_out: endpoint {
				remote-endpoint = <&isi_in>;
			};
		};
	};
};

&dphy_rx {
	status = "okay";
};
#endif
